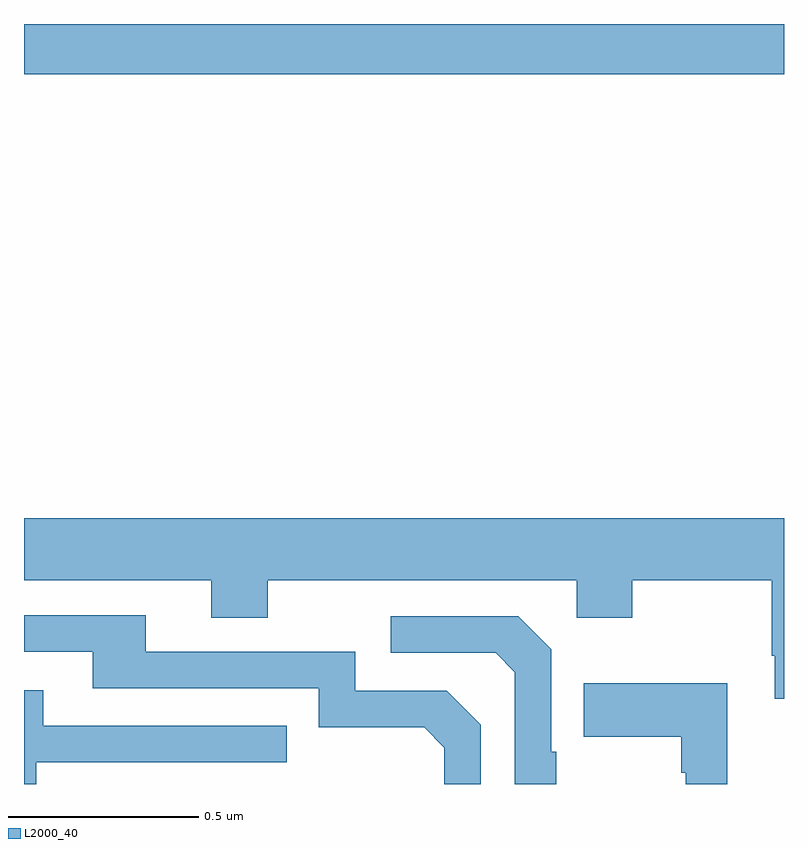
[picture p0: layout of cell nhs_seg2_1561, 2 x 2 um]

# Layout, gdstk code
import gdstk
lib = gdstk.Library(unit=1e-6, precision=1e-09)
def R(c, l, rs):  # rectangles x0, y0, x1, y1
    for r in rs: c.add(gdstk.rectangle(r[:2], r[2:], *l))
def P(c, l, *ps):  # polygons
    for p in ps: c.add(gdstk.Polygon(p, *l))
L2000_40 = (2000, 40)

nhs_seg2_1561 = lib.new_cell('nhs_seg2_1561')
R(nhs_seg2_1561, L2000_40, [(130,615.668,132,615.8)])
P(nhs_seg2_1561, L2000_40, [(132,614.5),(130,614.5),(130,614.336),(130.493,614.336),(130.493,614.237),(130.641,614.237),(130.641,614.336),(131.454,614.336),(131.454,614.237),(131.601,614.237),(131.601,614.336),(131.968,614.336),(131.968,614.137),(131.975,614.137),(131.975,614.025),(132,614.025)],
  [(131.202,613.956),(131.112,614.046),(130.872,614.046),(130.872,614.148),(130.321,614.148),(130.321,614.244),(130,614.244),(130,614.148),(130.181,614.148),(130.181,614.052),(130.776,614.052),(130.776,613.949),(131.053,613.949),(131.106,613.896),(131.106,613.8),(131.202,613.8)],
  [(131.401,613.885),(131.388,613.885),(131.388,614.154),(131.301,614.241),(130.965,614.241),(130.965,614.145),(131.241,614.145),(131.292,614.094),(131.292,613.8),(131.401,613.8)],
  [(131.851,614.065),(131.473,614.065),(131.473,613.925),(131.73,613.925),(131.73,613.829),(131.742,613.829),(131.742,613.8),(131.851,613.8)],
  [(130.032,613.857),(130.691,613.857),(130.691,613.953),(130.051,613.953),(130.051,614.047),(130,614.047),(130,613.8),(130.032,613.8)])

lib.write_gds('nhs_seg2_1561.gds')
